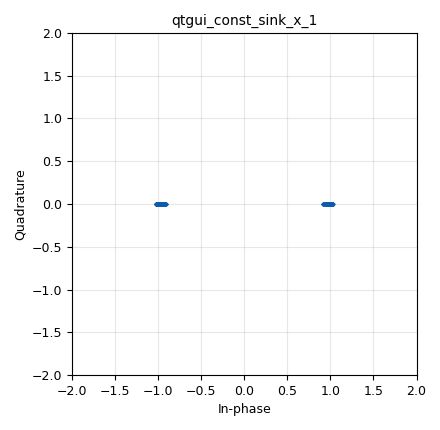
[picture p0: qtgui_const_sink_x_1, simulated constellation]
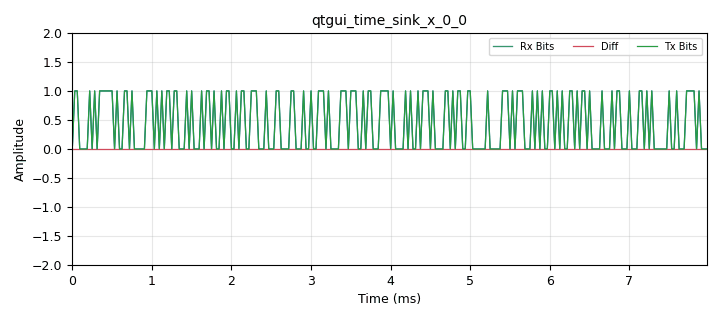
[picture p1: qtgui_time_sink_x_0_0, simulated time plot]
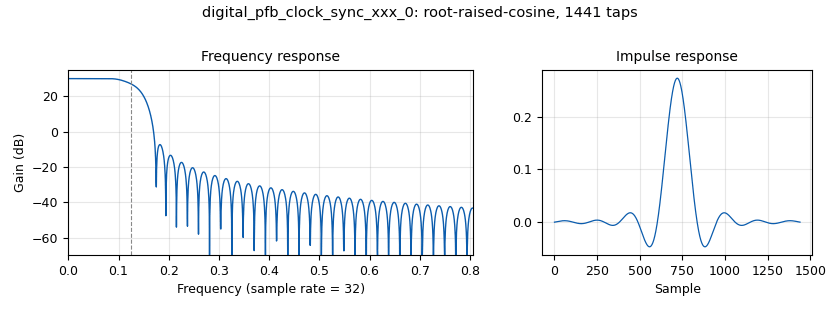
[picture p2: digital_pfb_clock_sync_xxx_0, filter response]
options:
  parameters:
    category: Custom
    generate_options: qt_gui
    id: bpsk_stage6
    output_language: python
    title: bpsk_stage6
  states: {}

blocks:
- name: arity
  id: variable
  parameters:
    value: '2'
  states: {}
- name: bpsk
  id: variable_constellation
  parameters:
    precision: '8'
    type: bpsk
  states: {}
- name: delay
  id: variable_qtgui_range
  parameters:
    label: Delay
    start: '0'
    step: '1'
    stop: '200'
    value: '29'
  states: {}
- name: excess_bw
  id: variable
  parameters:
    value: '0.35'
  states: {}
- name: freq_offset
  id: variable_qtgui_range
  parameters:
    label: freq_offset
    start: '-100e-3'
    step: '1e-3'
    stop: '100e-3'
    value: '1e-3'
  states: {}
- name: nfilts
  id: variable
  parameters:
    value: '32'
  states: {}
- name: noise_volt
  id: variable_qtgui_range
  parameters:
    label: Delay
    start: '0'
    step: '10e-3'
    stop: '1'
    value: '10e-3'
  states: {}
- name: phase_bw
  id: variable
  parameters:
    value: '0.0628'
  states: {}
- name: reverse
  id: variable_qtgui_chooser
  parameters:
    label0: Normal
    label1: Reverse
    num_opts: '2'
    option0: '1'
    option1: '-1'
    type: int
    value: '1'
    widget: radio_buttons
  states: {}
- name: rrc_taps
  id: variable
  parameters:
    value: firdes.root_raised_cosine(nfilts, nfilts, 1.0/float(sps), 0.35, 45*nfilts)
  states: {}
- name: samp_rate
  id: variable
  parameters:
    value: '32000'
  states: {}
- name: sps
  id: variable
  parameters:
    value: '4'
  states: {}
- name: taps
  id: variable
  parameters:
    value: '[1.0 + 0.0j, ]'
  states: {}
- name: time_offset
  id: variable_qtgui_range
  parameters:
    label: freq_offset
    start: '999e-3'
    step: '100e-6'
    stop: '1.001'
    value: '1.0001'
  states: {}
- name: timing_loop_bw
  id: variable
  parameters:
    value: '0.0628'
  states: {}
- name: analog_random_source_x_0
  id: analog_random_source_x
  parameters:
    max: '255'
    min: '0'
    num_samps: '10000'
    repeat: 'True'
    type: byte
  states: {}
- name: blocks_char_to_float_0_0
  id: blocks_char_to_float
  parameters:
    scale: '1'
  states: {}
- name: blocks_char_to_float_0_0_0
  id: blocks_char_to_float
  parameters:
    scale: '1'
  states: {}
- name: blocks_delay_0
  id: blocks_delay
  parameters:
    delay: int(delay)
    type: float
  states: {}
- name: blocks_sub_xx_0
  id: blocks_sub_xx
  parameters:
    type: float
  states: {}
- name: blocks_throttle_0
  id: blocks_throttle
  parameters:
    samples_per_second: samp_rate
    type: complex
  states: {}
- name: blocks_unpack_k_bits_bb_0_0
  id: blocks_unpack_k_bits_bb
  parameters:
    k: '8'
  states: {}
- name: digital_constellation_decoder_cb_0
  id: digital_constellation_decoder_cb
  parameters:
    constellation: bpsk
  states: {}
- name: digital_constellation_modulator_0
  id: digital_constellation_modulator
  parameters:
    constellation: bpsk
    differential: 'True'
    excess_bw: excess_bw
    samples_per_symbol: sps
  states: {}
- name: digital_costas_loop_cc_0
  id: digital_costas_loop_cc
  parameters:
    order: arity
    w: phase_bw
  states: {}
- name: digital_diff_decoder_bb_0
  id: digital_diff_decoder_bb
  parameters:
    coding: digital.DIFF_DIFFERENTIAL
    modulus: '2'
  states: {}
- name: digital_pfb_clock_sync_xxx_0
  id: digital_pfb_clock_sync_xxx
  parameters:
    filter_size: nfilts
    init_phase: nfilts/2
    loop_bw: timing_loop_bw
    max_dev: '1.5'
    osps: '1'
    sps: sps
    taps: rrc_taps
    type: ccf
  states: {}
- name: osmosdr_sink_0
  id: osmosdr_sink
  parameters:
    bb_gain0: '20'
    bw0: 200e3
    freq0: 50e6
    gain0: '10'
    if_gain0: '20'
    sample_rate: samp_rate
    sync: sync
    type: fc32
  states: {}
- name: osmosdr_source_0
  id: osmosdr_source
  parameters:
    bb_gain0: '20'
    bw0: 200e3
    freq0: 98e6
    gain0: '10'
    gain_mode0: 'False'
    if_gain0: '20'
    sample_rate: samp_rate
    sync: sync
    type: fc32
  states: {state: disabled}
- name: qtgui_const_sink_x_1
  id: qtgui_const_sink_x
  parameters:
    size: '1024'
    type: complex
  states: {}
- name: qtgui_time_sink_x_0_0
  id: qtgui_time_sink_x
  parameters:
    ctrlpanel: 'True'
    label1: Rx Bits
    label2: Diff
    label3: Tx Bits
    name: ''
    nconnections: '3'
    size: '256'
    srate: samp_rate
    tr_mode: qtgui.TRIG_MODE_AUTO
    type: float
    ymax: '2'
    ymin: '-2'
  states: {}
- name: virtual_sink_1
  id: virtual_sink
  parameters:
    stream_id: '"xmt_sig"'
  states: {}
- name: virtual_sink_1_0
  id: virtual_sink
  parameters:
    stream_id: '"tx_sig"'
  states: {}
- name: virtual_source_1
  id: virtual_source
  parameters:
    stream_id: '"xmt_sig"'
  states: {}
- name: virtual_source_1_0
  id: virtual_source
  parameters:
    stream_id: '"tx_sig"'
  states: {}

connections:
- [analog_random_source_x_0, '0', digital_constellation_modulator_0, '0']
- [analog_random_source_x_0, '0', virtual_sink_1, '0']
- [blocks_char_to_float_0_0, '0', blocks_sub_xx_0, '0']
- [blocks_char_to_float_0_0, '0', qtgui_time_sink_x_0_0, '0']
- [blocks_char_to_float_0_0_0, '0', blocks_delay_0, '0']
- [blocks_delay_0, '0', blocks_sub_xx_0, '1']
- [blocks_delay_0, '0', qtgui_time_sink_x_0_0, '2']
- [blocks_sub_xx_0, '0', qtgui_time_sink_x_0_0, '1']
- [blocks_throttle_0, '0', digital_pfb_clock_sync_xxx_0, '0']
- [blocks_unpack_k_bits_bb_0_0, '0', blocks_char_to_float_0_0_0, '0']
- [digital_constellation_decoder_cb_0, '0', digital_diff_decoder_bb_0, '0']
- [digital_constellation_modulator_0, '0', blocks_throttle_0, '0']
- [digital_costas_loop_cc_0, '0', digital_constellation_decoder_cb_0, '0']
- [digital_costas_loop_cc_0, '0', qtgui_const_sink_x_1, '0']
- [digital_diff_decoder_bb_0, '0', blocks_char_to_float_0_0, '0']
- [digital_pfb_clock_sync_xxx_0, '0', osmosdr_sink_0, '0']
- [digital_pfb_clock_sync_xxx_0, '0', virtual_sink_1_0, '0']
- [osmosdr_source_0, '0', digital_costas_loop_cc_0, '0']
- [virtual_source_1, '0', blocks_unpack_k_bits_bb_0_0, '0']
- [virtual_source_1_0, '0', digital_costas_loop_cc_0, '0']

metadata:
  file_format: 1
